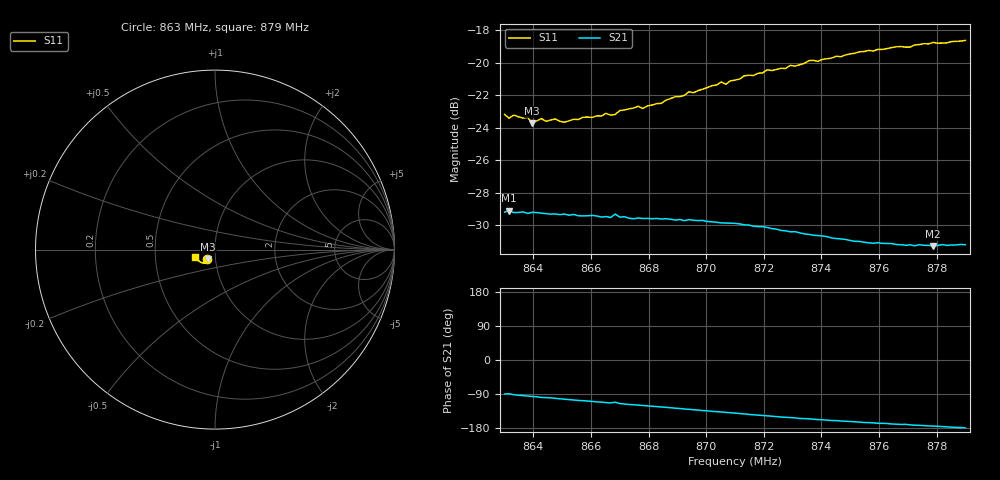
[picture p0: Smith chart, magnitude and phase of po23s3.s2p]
# HZ S RI R 50
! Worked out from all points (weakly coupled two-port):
!   101 points, 863 MHz to 879 MHz, reference 50 ohm
!   highest |S21| = -29.12 dB at 863.16 MHz (marker M1); lowest = -31.3 dB at 877.88 MHz (marker M2)
!   lowest |S11| = -23.7 dB at 863.96 MHz (marker M3), VSWR 1.14, Z = 46.1 - j4.88 ohm
!   |S11| at or under -10 dB: start of sweep to end of sweep
!   S12 and S22 are empty: the file has one direction only
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8.63e8  -0.0437 -0.0537  0.000199 -0.0346  0 0  0 0
8.6316e8  -0.0397 -0.0546  0.000585 -0.035  0 0  0 0
8.6332e8  -0.0426 -0.0542  -0.00101 -0.0345  0 0  0 0
8.638e8  -0.0403 -0.0546  -0.00304 -0.0342  0 0  0 0
8.6396e8  -0.0383 -0.0527  -0.00367 -0.0344  0 0  0 0
8.6428e8  -0.0378 -0.0557  -0.0053 -0.034  0 0  0 0
8.6508e8  -0.0359 -0.0549  -0.00797 -0.0332  0 0  0 0
8.6572e8  -0.0349 -0.0583  -0.01 -0.0322  0 0  0 0
8.6668e8  -0.0331 -0.0605  -0.0131 -0.0306  0 0  0 0
8.6684e8  -0.0309 -0.062  -0.0125 -0.0318  0 0  0 0
8.67e8  -0.0344 -0.0624  -0.0141 -0.0303  0 0  0 0
8.6844e8  -0.0365 -0.0655  -0.0185 -0.0273  0 0  0 0
8.694e8  -0.0409 -0.0704  -0.0212 -0.0251  0 0  0 0
8.6956e8  -0.0408 -0.0698  -0.0216 -0.0245  0 0  0 0
8.7052e8  -0.0467 -0.0737  -0.0235 -0.0218  0 0  0 0
8.71e8  -0.0485 -0.0739  -0.0245 -0.0205  0 0  0 0
8.7212e8  -0.0574 -0.0759  -0.0261 -0.0168  0 0  0 0
8.7276e8  -0.061 -0.0741  -0.0266 -0.0146  0 0  0 0
8.7372e8  -0.0692 -0.0746  -0.0269 -0.0119  0 0  0 0
8.7644e8  -0.0932 -0.0609  -0.0272 -0.00535  0 0  0 0
8.7788e8  -0.1046 -0.0491  -0.0271 -0.00262  0 0  0 0
8.79e8  -0.1106 -0.0387  -0.0275 -0.000342  0 0  0 0
